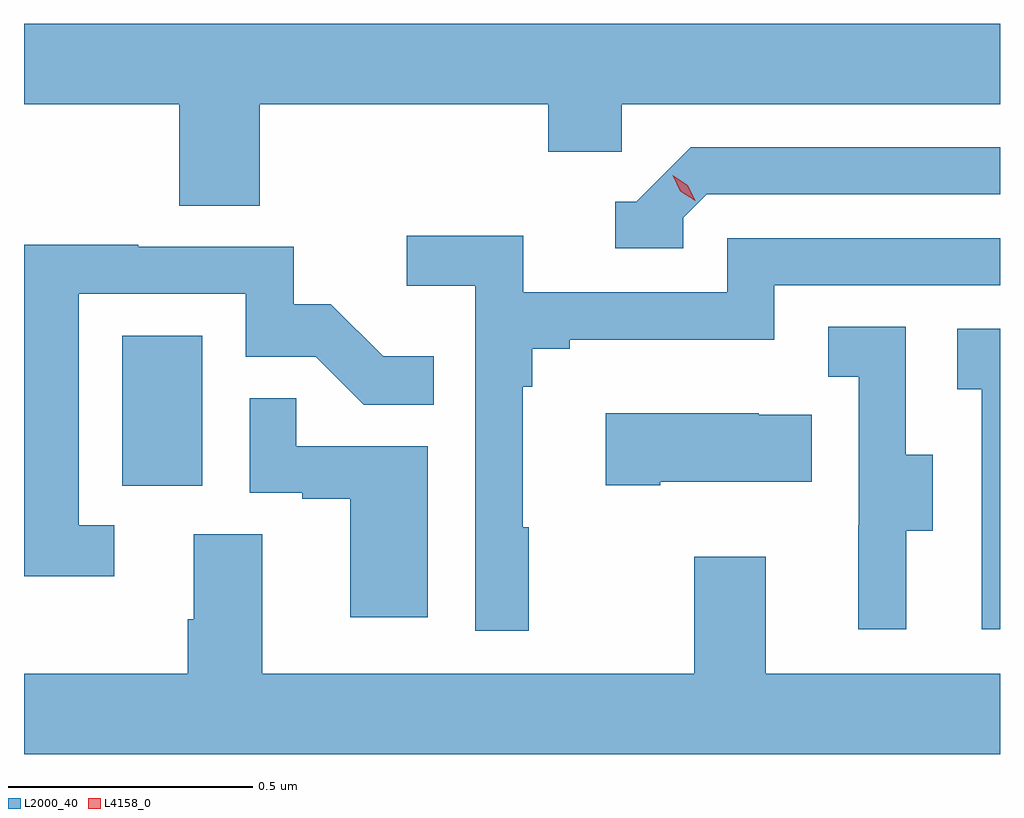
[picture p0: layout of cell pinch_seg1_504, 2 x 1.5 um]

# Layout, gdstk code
import gdstk
lib = gdstk.Library(unit=1e-6, precision=1e-09)
def R(c, l, rs):  # rectangles x0, y0, x1, y1
    for r in rs: c.add(gdstk.rectangle(r[:2], r[2:], *l))
def P(c, l, *ps):  # polygons
    for p in ps: c.add(gdstk.Polygon(p, *l))
L2000_40 = (2000, 40)
L4158_0 = (4158, 0)

pinch_seg1_504 = lib.new_cell('pinch_seg1_504')
R(pinch_seg1_504, L2000_40, [(1097.498,540.294,1097.662,540.601)])
P(pinch_seg1_504, L2000_40, [(1097.78,541.076),(1098.371,541.076),(1098.371,540.978),(1098.522,540.978),(1098.522,541.076),(1099.297,541.076),(1099.297,541.24),(1097.297,541.24),(1097.297,541.076),(1097.615,541.076),(1097.615,540.868),(1097.78,540.868)],
  [(1098.648,540.843),(1098.696,540.891),(1099.297,540.891),(1099.297,540.987),(1098.663,540.987),(1098.552,540.876),(1098.509,540.876),(1098.509,540.78),(1098.648,540.78)],
  [(1098.331,540.209),(1098.319,540.209),(1098.319,540.497),(1098.338,540.497),(1098.338,540.574),(1098.415,540.574),(1098.415,540.593),(1098.834,540.593),(1098.834,540.705),(1099.297,540.705),(1099.297,540.801),(1098.738,540.801),(1098.738,540.69),(1098.32,540.69),(1098.32,540.806),(1098.081,540.806),(1098.081,540.704),(1098.222,540.704),(1098.222,539.997),(1098.331,539.997)],
  [(1097.482,540.213),(1097.409,540.213),(1097.409,540.687),(1097.751,540.687),(1097.751,540.558),(1097.895,540.558),(1097.993,540.46),(1098.137,540.46),(1098.137,540.559),(1098.033,540.559),(1097.926,540.666),(1097.85,540.666),(1097.85,540.783),(1097.531,540.783),(1097.531,540.788),(1097.297,540.788),(1097.297,540.108),(1097.482,540.108)],
  [(1099.105,540.202),(1099.159,540.202),(1099.159,540.357),(1099.104,540.357),(1099.104,540.62),(1098.945,540.62),(1098.945,540.517),(1099.008,540.517),(1099.008,540.213),(1099.007,540.213),(1099.007,540),(1099.105,540)],
  [(1099.297,540.615),(1099.209,540.615),(1099.209,540.491),(1099.26,540.491),(1099.26,540),(1099.297,540)],
  [(1098.124,540.375),(1097.855,540.375),(1097.855,540.473),(1097.76,540.473),(1097.76,540.279),(1097.867,540.279),(1097.867,540.267),(1097.966,540.267),(1097.966,540.024),(1098.124,540.024)],
  [(1098.601,540.302),(1098.911,540.302),(1098.911,540.439),(1098.803,540.439),(1098.803,540.442),(1098.489,540.442),(1098.489,540.295),(1098.601,540.295)],
  [(1099.297,539.908),(1098.817,539.908),(1098.817,540.148),(1098.67,540.148),(1098.67,539.908),(1097.785,539.908),(1097.785,540.194),(1097.645,540.194),(1097.645,540.02),(1097.633,540.02),(1097.633,539.908),(1097.297,539.908),(1097.297,539.744),(1099.297,539.744)])
P(pinch_seg1_504, L4158_0, [(1098.672,540.878),(1098.642,540.897),(1098.626,540.93),(1098.626,540.93),(1098.626,540.93),(1098.657,540.91),(1098.673,540.878),(1098.673,540.878)])

lib.write_gds('pinch_seg1_504.gds')
